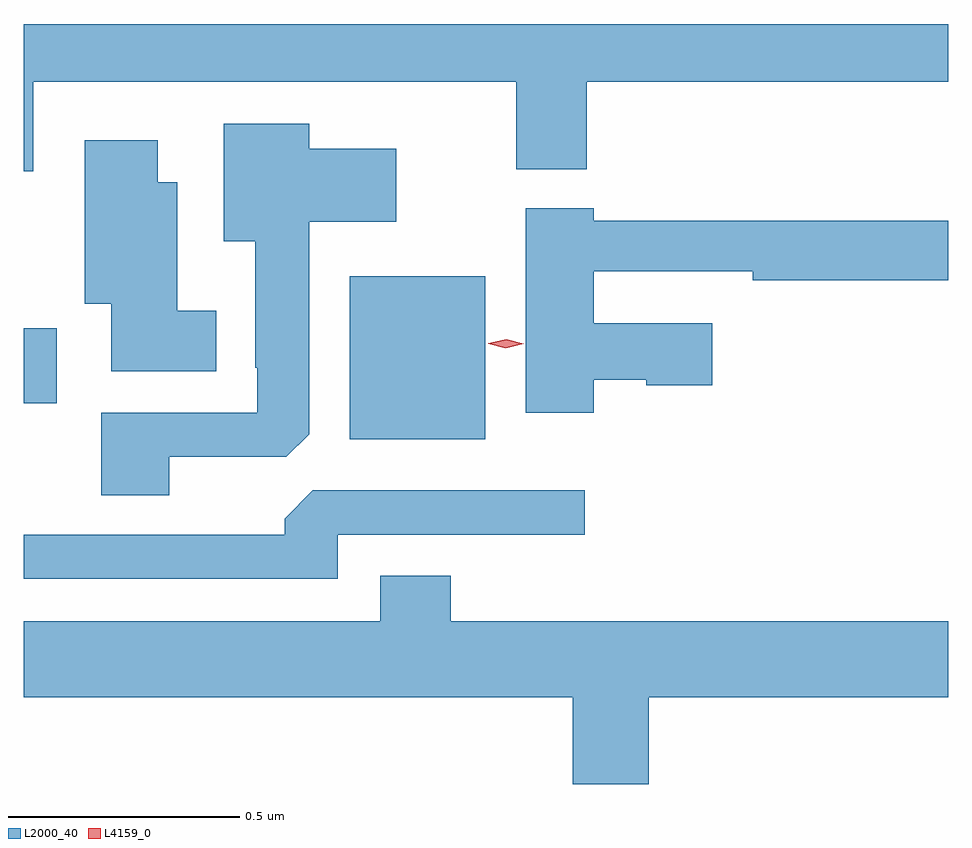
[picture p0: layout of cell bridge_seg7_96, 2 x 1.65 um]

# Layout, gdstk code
import gdstk
lib = gdstk.Library(unit=1e-6, precision=1e-09)
def R(c, l, rs):  # rectangles x0, y0, x1, y1
    for r in rs: c.add(gdstk.rectangle(r[:2], r[2:], *l))
def P(c, l, *ps):  # polygons
    for p in ps: c.add(gdstk.Polygon(p, *l))
L2000_40 = (2000, 40)
L4159_0 = (4159, 0)

bridge_seg7_96 = lib.new_cell('bridge_seg7_96')
R(bridge_seg7_96, L2000_40, [(1051.637,1019.822,1051.93,1020.175), (1050.932,1019.9,1051.003,1020.063)])
P(bridge_seg7_96, L2000_40, [(1050.952,1020.596),(1051.997,1020.596),(1051.997,1020.407),(1052.15,1020.407),(1052.15,1020.596),(1052.932,1020.596),(1052.932,1020.721),(1050.932,1020.721),(1050.932,1020.402),(1050.952,1020.402)],
  [(1051.246,1019.784),(1051.5,1019.784),(1051.549,1019.833),(1051.549,1020.293),(1051.738,1020.293),(1051.738,1020.451),(1051.549,1020.451),(1051.549,1020.505),(1051.364,1020.505),(1051.364,1020.251),(1051.433,1020.251),(1051.433,1019.977),(1051.437,1019.977),(1051.437,1019.88),(1051.099,1019.88),(1051.099,1019.701),(1051.246,1019.701)],
  [(1051.348,1020.1),(1051.264,1020.1),(1051.264,1020.379),(1051.222,1020.379),(1051.222,1020.469),(1051.064,1020.469),(1051.064,1020.116),(1051.121,1020.116),(1051.121,1019.969),(1051.348,1019.969)],
  [(1052.165,1019.951),(1052.279,1019.951),(1052.279,1019.939),(1052.422,1019.939),(1052.422,1020.073),(1052.165,1020.073),(1052.165,1020.186),(1052.509,1020.186),(1052.509,1020.166),(1052.932,1020.166),(1052.932,1020.295),(1052.165,1020.295),(1052.165,1020.322),(1052.018,1020.322),(1052.018,1019.88),(1052.165,1019.88)],
  [(1051.611,1019.616),(1052.146,1019.616),(1052.146,1019.712),(1051.557,1019.712),(1051.496,1019.65),(1051.496,1019.616),(1050.932,1019.616),(1050.932,1019.52),(1051.611,1019.52)],
  [(1052.284,1019.264),(1052.932,1019.264),(1052.932,1019.428),(1051.856,1019.428),(1051.856,1019.527),(1051.703,1019.527),(1051.703,1019.428),(1050.932,1019.428),(1050.932,1019.264),(1052.12,1019.264),(1052.12,1019.076),(1052.284,1019.076)])
P(bridge_seg7_96, L4159_0, [(1051.975,1020.019),(1051.937,1020.029),(1051.937,1020.03),(1051.937,1020.03),(1051.976,1020.039),(1052.014,1020.029),(1052.014,1020.029),(1052.014,1020.029)])

lib.write_gds('bridge_seg7_96.gds')
